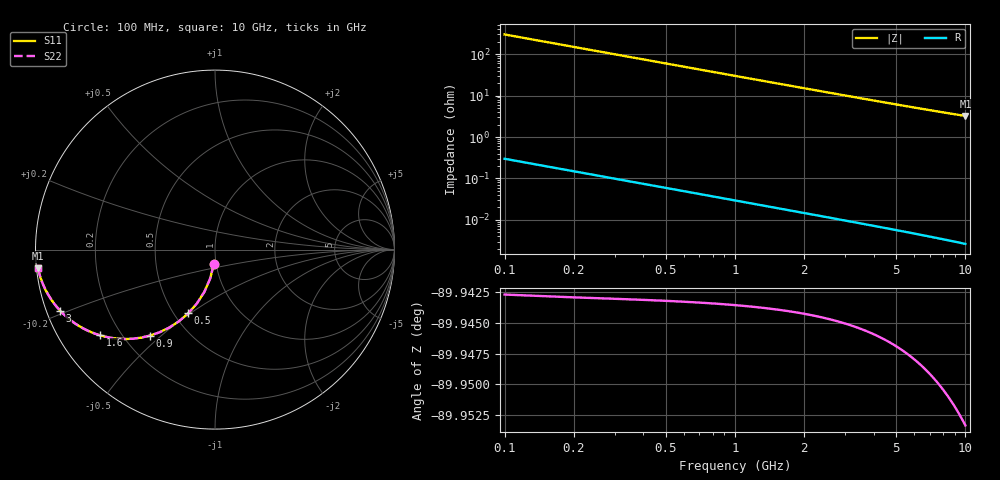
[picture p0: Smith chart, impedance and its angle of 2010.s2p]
# Hz S RI R 50.00
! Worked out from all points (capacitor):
!   100 points, 100 MHz to 10 GHz, reference 50 ohm
!   read as one part in shunt: C = 5.33 pF near 100 MHz
!   lowest |Z| = 3.23 ohm at 10 GHz (marker M1)
!   S11 on the Smith chart (normalised r, x): 100 MHz: 0.97, -0.16; 500 MHz: 0.59, -0.49; 900 MHz: 0.31, -0.46; 1.6 GHz: 0.12, -0.33; 3 GHz: 0.04, -0.19; 10 GHz: 0.00, -0.05
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1e8  -0.00702 -0.083  0.9929 -0.0832  0.9929 -0.0832  -0.00702 -0.083
2e8  -0.0274 -0.1626  0.9726 -0.163  0.9726 -0.163  -0.0274 -0.1626
3e8  -0.0595 -0.2358  0.9405 -0.2364  0.9405 -0.2364  -0.0595 -0.2358
4e8  -0.101 -0.3004  0.899 -0.3013  0.899 -0.3013  -0.101 -0.3004
5e8  -0.1492 -0.3553  0.8508 -0.3563  0.8508 -0.3563  -0.1492 -0.3553
6e8  -0.2015 -0.4  0.7985 -0.4013  0.7985 -0.4013  -0.2015 -0.4
7e8  -0.2555 -0.4349  0.7444 -0.4364  0.7444 -0.4364  -0.2555 -0.4349
9e8  -0.3617 -0.4791  0.6382 -0.481  0.6382 -0.481  -0.3617 -0.4791
1.2e9  -0.5015 -0.4982  0.4985 -0.5008  0.4985 -0.5008  -0.5015 -0.4982
1.4e9  -0.5777 -0.4919  0.4223 -0.4949  0.4223 -0.4949  -0.5777 -0.4919
1.6e9  -0.6409 -0.4775  0.359 -0.4809  0.359 -0.4809  -0.6409 -0.4775
1.8e9  -0.693 -0.4588  0.307 -0.4626  0.307 -0.4626  -0.693 -0.4588
2e9  -0.7358 -0.4383  0.2642 -0.4425  0.2642 -0.4425  -0.7358 -0.4383
2.3e9  -0.7862 -0.407  0.2137 -0.4119  0.2137 -0.4119  -0.7862 -0.407
2.6e9  -0.8244 -0.3771  0.1755 -0.3827  0.1755 -0.3827  -0.8244 -0.3771
3e9  -0.862 -0.3412  0.138 -0.3476  0.138 -0.3476  -0.862 -0.3412
3.4e9  -0.8891 -0.3098  0.1109 -0.3171  0.1109 -0.3171  -0.8891 -0.3098
4.2e9  -0.9244 -0.2593  0.0756 -0.2684  0.0756 -0.2684  -0.9244 -0.2593
5.1e9  -0.9474 -0.217  0.0525 -0.2281  0.0525 -0.2281  -0.9474 -0.217
6.7e9  -0.969 -0.1653  0.0309 -0.1801  0.0309 -0.1801  -0.969 -0.1653
8.4e9  -0.9802 -0.1291  0.0196 -0.1479  0.0196 -0.1479  -0.9802 -0.1291
1e10  -0.986 -0.1048  0.0137 -0.1275  0.0137 -0.1275  -0.986 -0.1048
